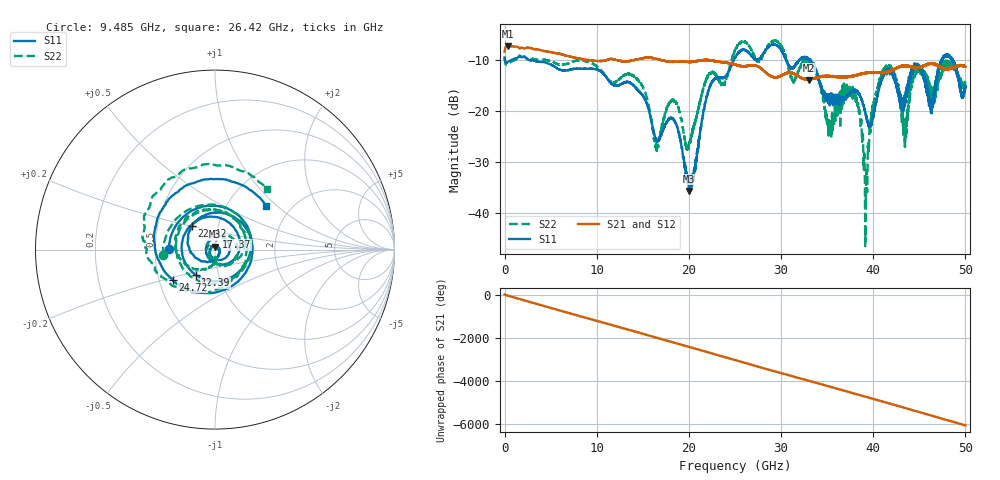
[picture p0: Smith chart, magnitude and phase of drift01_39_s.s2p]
!Created with skrf (http://scikit-rf.org).
# Hz S RI R 50.0
!freq ReS11 ImS11 ReS21 ImS21 ReS12 ImS12 ReS22 ImS22
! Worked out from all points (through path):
!   10001 points, 300 kHz to 50 GHz, reference 50 ohm
!   highest |S21| = -7.33 dB at 325.3 MHz (marker M1); lowest = -14.0 dB at 33.02 GHz (marker M2)
!   group delay of S21, straight-line fit = 335 ps
!   lowest |S11| = -35.7 dB at 20.01 GHz (marker M3), VSWR 1.03, Z = 49.8 + j1.62 ohm
!   |S11| at or under -10 dB: 2.555 GHz to 24.9 GHz (22.35 GHz wide, 163 % of centre); 30.51 GHz to 32.02 GHz (1.509 GHz wide, 4.83 % of centre); 33.07 GHz to 47.44 GHz (14.37 GHz wide, 35.7 % of centre) (the widest 3 of 20)
!   |S22| runs from -46.5 to -6.3 dB; largest |S21 - S12| = 0.0085
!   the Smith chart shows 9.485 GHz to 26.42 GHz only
!   S11 on the Smith chart (normalised r, x): 9.485 GHz: 0.59, +0.00; 12.39 GHz: 0.78, -0.22; 17.37 GHz: 1.01, +0.14; 22.42 GHz: 0.75, +0.20; 24.72 GHz: 0.59, -0.22; 26.42 GHz: 1.53, +0.85
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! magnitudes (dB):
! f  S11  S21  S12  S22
! 300 kHz  -9.6  -8.5  -8.5  -9.5
! 325.3 MHz  -10.5  -7.3  -7.3  -10.9
! 8.335 GHz  -11.8  -9.9  -9.9  -10.2
! 9.485 GHz  -11.8  -10.2  -10.2  -10.8
! 12.39 GHz  -15.0  -10.2  -10.2  -13.9
! 16.67 GHz  -26.0  -10.0  -9.9  -27.0
! 17.37 GHz  -23.0  -10.3  -10.3  -20.7
! 20.01 GHz  -35.7  -10.5  -10.5  -26.6
! 22.42 GHz  -14.7  -10.2  -10.2  -12.6
! 24.72 GHz  -10.8  -10.9  -10.9  -9.6
! 25 GHz  -9.6  -11.0  -11.0  -8.2
! 26.42 GHz  -8.5  -11.2  -11.2  -7.1
! 33.02 GHz  -9.9  -14.0  -13.8  -10.1
! 33.34 GHz  -10.8  -13.8  -13.8  -10.6
! 35.23 GHz  -16.9  -13.4  -13.3  -22.4
! 37.99 GHz  -16.0  -13.2  -13.1  -17.2
! 39.17 GHz  -20.7  -12.7  -12.6  -41.1
! 40.14 GHz  -19.9  -12.5  -12.5  -18.0
! 41.67 GHz  -12.1  -12.2  -12.3  -11.6
! 43.45 GHz  -17.4  -11.3  -11.3  -27.1
! 44.88 GHz  -11.1  -11.6  -11.6  -11.6
! 50 GHz  -15.4  -11.4  -11.4  -14.9
